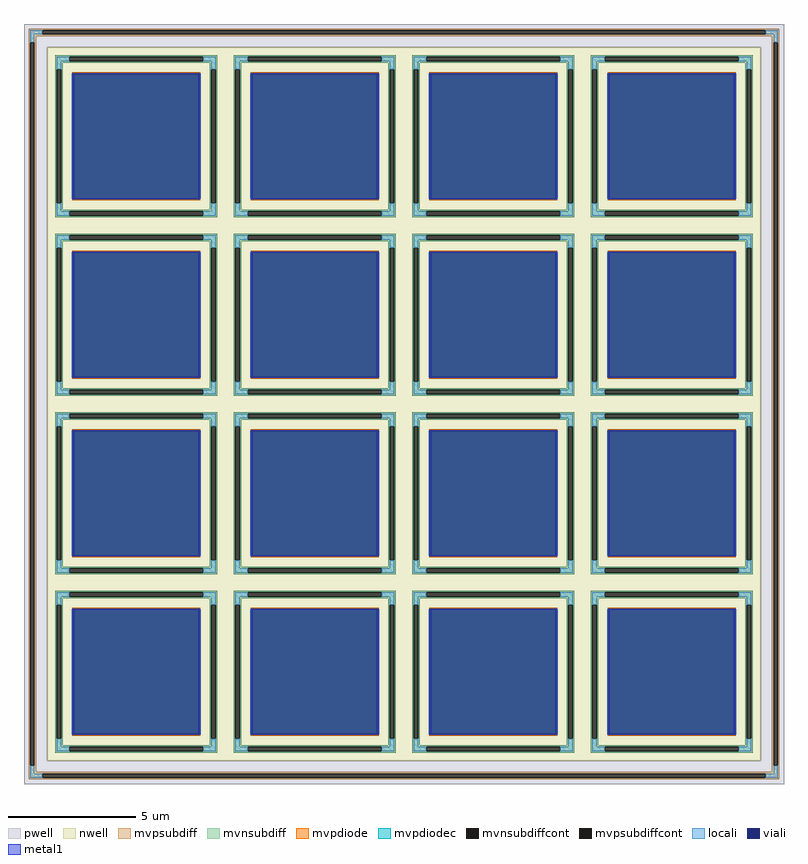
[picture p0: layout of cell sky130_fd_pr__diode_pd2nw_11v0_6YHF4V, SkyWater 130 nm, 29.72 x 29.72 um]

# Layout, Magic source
magic
tech sky130A
<< nwell >>
rect -1396 -1396 1396 1396
<< pwell >>
rect -1486 1396 1486 1486
rect -1486 -1396 -1396 1396
rect 1396 -1396 1486 1396
rect -1486 -1486 1486 -1396
<< mvpsubdiff >>
rect -1468 1462 1468 1468
rect -1468 1445 -1414 1462
rect 1414 1445 1468 1462
rect -1468 1439 1468 1445
rect -1468 1414 -1439 1439
rect -1468 -1414 -1462 1414
rect -1445 -1414 -1439 1414
rect 1439 1414 1468 1439
rect -1468 -1439 -1439 -1414
rect 1439 -1414 1445 1414
rect 1462 -1414 1468 1414
rect 1439 -1439 1468 -1414
rect -1468 -1445 1468 -1439
rect -1468 -1462 -1414 -1445
rect 1414 -1462 1468 -1445
rect -1468 -1468 1468 -1462
<< mvnsubdiff >>
rect -1363 1357 -731 1363
rect -1363 1340 -1309 1357
rect -785 1340 -731 1357
rect -1363 1334 -731 1340
rect -1363 1309 -1334 1334
rect -1363 785 -1357 1309
rect -1340 785 -1334 1309
rect -760 1309 -731 1334
rect -1363 760 -1334 785
rect -760 785 -754 1309
rect -737 785 -731 1309
rect -760 760 -731 785
rect -1363 754 -731 760
rect -1363 737 -1309 754
rect -785 737 -731 754
rect -1363 731 -731 737
rect -665 1357 -33 1363
rect -665 1340 -611 1357
rect -87 1340 -33 1357
rect -665 1334 -33 1340
rect -665 1309 -636 1334
rect -665 785 -659 1309
rect -642 785 -636 1309
rect -62 1309 -33 1334
rect -665 760 -636 785
rect -62 785 -56 1309
rect -39 785 -33 1309
rect -62 760 -33 785
rect -665 754 -33 760
rect -665 737 -611 754
rect -87 737 -33 754
rect -665 731 -33 737
rect 33 1357 665 1363
rect 33 1340 87 1357
rect 611 1340 665 1357
rect 33 1334 665 1340
rect 33 1309 62 1334
rect 33 785 39 1309
rect 56 785 62 1309
rect 636 1309 665 1334
rect 33 760 62 785
rect 636 785 642 1309
rect 659 785 665 1309
rect 636 760 665 785
rect 33 754 665 760
rect 33 737 87 754
rect 611 737 665 754
rect 33 731 665 737
rect 731 1357 1363 1363
rect 731 1340 785 1357
rect 1309 1340 1363 1357
rect 731 1334 1363 1340
rect 731 1309 760 1334
rect 731 785 737 1309
rect 754 785 760 1309
rect 1334 1309 1363 1334
rect 731 760 760 785
rect 1334 785 1340 1309
rect 1357 785 1363 1309
rect 1334 760 1363 785
rect 731 754 1363 760
rect 731 737 785 754
rect 1309 737 1363 754
rect 731 731 1363 737
rect -1363 659 -731 665
rect -1363 642 -1309 659
rect -785 642 -731 659
rect -1363 636 -731 642
rect -1363 611 -1334 636
rect -1363 87 -1357 611
rect -1340 87 -1334 611
rect -760 611 -731 636
rect -1363 62 -1334 87
rect -760 87 -754 611
rect -737 87 -731 611
rect -760 62 -731 87
rect -1363 56 -731 62
rect -1363 39 -1309 56
rect -785 39 -731 56
rect -1363 33 -731 39
rect -665 659 -33 665
rect -665 642 -611 659
rect -87 642 -33 659
rect -665 636 -33 642
rect -665 611 -636 636
rect -665 87 -659 611
rect -642 87 -636 611
rect -62 611 -33 636
rect -665 62 -636 87
rect -62 87 -56 611
rect -39 87 -33 611
rect -62 62 -33 87
rect -665 56 -33 62
rect -665 39 -611 56
rect -87 39 -33 56
rect -665 33 -33 39
rect 33 659 665 665
rect 33 642 87 659
rect 611 642 665 659
rect 33 636 665 642
rect 33 611 62 636
rect 33 87 39 611
rect 56 87 62 611
rect 636 611 665 636
rect 33 62 62 87
rect 636 87 642 611
rect 659 87 665 611
rect 636 62 665 87
rect 33 56 665 62
rect 33 39 87 56
rect 611 39 665 56
rect 33 33 665 39
rect 731 659 1363 665
rect 731 642 785 659
rect 1309 642 1363 659
rect 731 636 1363 642
rect 731 611 760 636
rect 731 87 737 611
rect 754 87 760 611
rect 1334 611 1363 636
rect 731 62 760 87
rect 1334 87 1340 611
rect 1357 87 1363 611
rect 1334 62 1363 87
rect 731 56 1363 62
rect 731 39 785 56
rect 1309 39 1363 56
rect 731 33 1363 39
rect -1363 -39 -731 -33
rect -1363 -56 -1309 -39
rect -785 -56 -731 -39
rect -1363 -62 -731 -56
rect -1363 -87 -1334 -62
rect -1363 -611 -1357 -87
rect -1340 -611 -1334 -87
rect -760 -87 -731 -62
rect -1363 -636 -1334 -611
rect -760 -611 -754 -87
rect -737 -611 -731 -87
rect -760 -636 -731 -611
rect -1363 -642 -731 -636
rect -1363 -659 -1309 -642
rect -785 -659 -731 -642
rect -1363 -665 -731 -659
rect -665 -39 -33 -33
rect -665 -56 -611 -39
rect -87 -56 -33 -39
rect -665 -62 -33 -56
rect -665 -87 -636 -62
rect -665 -611 -659 -87
rect -642 -611 -636 -87
rect -62 -87 -33 -62
rect -665 -636 -636 -611
rect -62 -611 -56 -87
rect -39 -611 -33 -87
rect -62 -636 -33 -611
rect -665 -642 -33 -636
rect -665 -659 -611 -642
rect -87 -659 -33 -642
rect -665 -665 -33 -659
rect 33 -39 665 -33
rect 33 -56 87 -39
rect 611 -56 665 -39
rect 33 -62 665 -56
rect 33 -87 62 -62
rect 33 -611 39 -87
rect 56 -611 62 -87
rect 636 -87 665 -62
rect 33 -636 62 -611
rect 636 -611 642 -87
rect 659 -611 665 -87
rect 636 -636 665 -611
rect 33 -642 665 -636
rect 33 -659 87 -642
rect 611 -659 665 -642
rect 33 -665 665 -659
rect 731 -39 1363 -33
rect 731 -56 785 -39
rect 1309 -56 1363 -39
rect 731 -62 1363 -56
rect 731 -87 760 -62
rect 731 -611 737 -87
rect 754 -611 760 -87
rect 1334 -87 1363 -62
rect 731 -636 760 -611
rect 1334 -611 1340 -87
rect 1357 -611 1363 -87
rect 1334 -636 1363 -611
rect 731 -642 1363 -636
rect 731 -659 785 -642
rect 1309 -659 1363 -642
rect 731 -665 1363 -659
rect -1363 -737 -731 -731
rect -1363 -754 -1309 -737
rect -785 -754 -731 -737
rect -1363 -760 -731 -754
rect -1363 -785 -1334 -760
rect -1363 -1309 -1357 -785
rect -1340 -1309 -1334 -785
rect -760 -785 -731 -760
rect -1363 -1334 -1334 -1309
rect -760 -1309 -754 -785
rect -737 -1309 -731 -785
rect -760 -1334 -731 -1309
rect -1363 -1340 -731 -1334
rect -1363 -1357 -1309 -1340
rect -785 -1357 -731 -1340
rect -1363 -1363 -731 -1357
rect -665 -737 -33 -731
rect -665 -754 -611 -737
rect -87 -754 -33 -737
rect -665 -760 -33 -754
rect -665 -785 -636 -760
rect -665 -1309 -659 -785
rect -642 -1309 -636 -785
rect -62 -785 -33 -760
rect -665 -1334 -636 -1309
rect -62 -1309 -56 -785
rect -39 -1309 -33 -785
rect -62 -1334 -33 -1309
rect -665 -1340 -33 -1334
rect -665 -1357 -611 -1340
rect -87 -1357 -33 -1340
rect -665 -1363 -33 -1357
rect 33 -737 665 -731
rect 33 -754 87 -737
rect 611 -754 665 -737
rect 33 -760 665 -754
rect 33 -785 62 -760
rect 33 -1309 39 -785
rect 56 -1309 62 -785
rect 636 -785 665 -760
rect 33 -1334 62 -1309
rect 636 -1309 642 -785
rect 659 -1309 665 -785
rect 636 -1334 665 -1309
rect 33 -1340 665 -1334
rect 33 -1357 87 -1340
rect 611 -1357 665 -1340
rect 33 -1363 665 -1357
rect 731 -737 1363 -731
rect 731 -754 785 -737
rect 1309 -754 1363 -737
rect 731 -760 1363 -754
rect 731 -785 760 -760
rect 731 -1309 737 -785
rect 754 -1309 760 -785
rect 1334 -785 1363 -760
rect 731 -1334 760 -1309
rect 1334 -1309 1340 -785
rect 1357 -1309 1363 -785
rect 1334 -1334 1363 -1309
rect 731 -1340 1363 -1334
rect 731 -1357 785 -1340
rect 1309 -1357 1363 -1340
rect 731 -1363 1363 -1357
<< mvpsubdiffcont >>
rect -1414 1445 1414 1462
rect -1462 -1414 -1445 1414
rect 1445 -1414 1462 1414
rect -1414 -1462 1414 -1445
<< mvnsubdiffcont >>
rect -1309 1340 -785 1357
rect -1357 785 -1340 1309
rect -754 785 -737 1309
rect -1309 737 -785 754
rect -611 1340 -87 1357
rect -659 785 -642 1309
rect -56 785 -39 1309
rect -611 737 -87 754
rect 87 1340 611 1357
rect 39 785 56 1309
rect 642 785 659 1309
rect 87 737 611 754
rect 785 1340 1309 1357
rect 737 785 754 1309
rect 1340 785 1357 1309
rect 785 737 1309 754
rect -1309 642 -785 659
rect -1357 87 -1340 611
rect -754 87 -737 611
rect -1309 39 -785 56
rect -611 642 -87 659
rect -659 87 -642 611
rect -56 87 -39 611
rect -611 39 -87 56
rect 87 642 611 659
rect 39 87 56 611
rect 642 87 659 611
rect 87 39 611 56
rect 785 642 1309 659
rect 737 87 754 611
rect 1340 87 1357 611
rect 785 39 1309 56
rect -1309 -56 -785 -39
rect -1357 -611 -1340 -87
rect -754 -611 -737 -87
rect -1309 -659 -785 -642
rect -611 -56 -87 -39
rect -659 -611 -642 -87
rect -56 -611 -39 -87
rect -611 -659 -87 -642
rect 87 -56 611 -39
rect 39 -611 56 -87
rect 642 -611 659 -87
rect 87 -659 611 -642
rect 785 -56 1309 -39
rect 737 -611 754 -87
rect 1340 -611 1357 -87
rect 785 -659 1309 -642
rect -1309 -754 -785 -737
rect -1357 -1309 -1340 -785
rect -754 -1309 -737 -785
rect -1309 -1357 -785 -1340
rect -611 -754 -87 -737
rect -659 -1309 -642 -785
rect -56 -1309 -39 -785
rect -611 -1357 -87 -1340
rect 87 -754 611 -737
rect 39 -1309 56 -785
rect 642 -1309 659 -785
rect 87 -1357 611 -1340
rect 785 -754 1309 -737
rect 737 -1309 754 -785
rect 1340 -1309 1357 -785
rect 785 -1357 1309 -1340
<< mvpdiode >>
rect -1297 1291 -797 1297
rect -1297 803 -1291 1291
rect -803 803 -797 1291
rect -1297 797 -797 803
rect -599 1291 -99 1297
rect -599 803 -593 1291
rect -105 803 -99 1291
rect -599 797 -99 803
rect 99 1291 599 1297
rect 99 803 105 1291
rect 593 803 599 1291
rect 99 797 599 803
rect 797 1291 1297 1297
rect 797 803 803 1291
rect 1291 803 1297 1291
rect 797 797 1297 803
rect -1297 593 -797 599
rect -1297 105 -1291 593
rect -803 105 -797 593
rect -1297 99 -797 105
rect -599 593 -99 599
rect -599 105 -593 593
rect -105 105 -99 593
rect -599 99 -99 105
rect 99 593 599 599
rect 99 105 105 593
rect 593 105 599 593
rect 99 99 599 105
rect 797 593 1297 599
rect 797 105 803 593
rect 1291 105 1297 593
rect 797 99 1297 105
rect -1297 -105 -797 -99
rect -1297 -593 -1291 -105
rect -803 -593 -797 -105
rect -1297 -599 -797 -593
rect -599 -105 -99 -99
rect -599 -593 -593 -105
rect -105 -593 -99 -105
rect -599 -599 -99 -593
rect 99 -105 599 -99
rect 99 -593 105 -105
rect 593 -593 599 -105
rect 99 -599 599 -593
rect 797 -105 1297 -99
rect 797 -593 803 -105
rect 1291 -593 1297 -105
rect 797 -599 1297 -593
rect -1297 -803 -797 -797
rect -1297 -1291 -1291 -803
rect -803 -1291 -797 -803
rect -1297 -1297 -797 -1291
rect -599 -803 -99 -797
rect -599 -1291 -593 -803
rect -105 -1291 -99 -803
rect -599 -1297 -99 -1291
rect 99 -803 599 -797
rect 99 -1291 105 -803
rect 593 -1291 599 -803
rect 99 -1297 599 -1291
rect 797 -803 1297 -797
rect 797 -1291 803 -803
rect 1291 -1291 1297 -803
rect 797 -1297 1297 -1291
<< mvpdiodec >>
rect -1291 803 -803 1291
rect -593 803 -105 1291
rect 105 803 593 1291
rect 803 803 1291 1291
rect -1291 105 -803 593
rect -593 105 -105 593
rect 105 105 593 593
rect 803 105 1291 593
rect -1291 -593 -803 -105
rect -593 -593 -105 -105
rect 105 -593 593 -105
rect 803 -593 1291 -105
rect -1291 -1291 -803 -803
rect -593 -1291 -105 -803
rect 105 -1291 593 -803
rect 803 -1291 1291 -803
<< locali >>
rect -1462 1445 -1414 1462
rect 1414 1445 1462 1462
rect -1462 1414 -1445 1445
rect 1445 1414 1462 1445
rect -1357 1340 -1309 1357
rect -785 1340 -737 1357
rect -1357 1309 -1340 1340
rect -754 1309 -737 1340
rect -1299 803 -1291 1291
rect -803 803 -795 1291
rect -1357 754 -1340 785
rect -754 754 -737 785
rect -1357 737 -1309 754
rect -785 737 -737 754
rect -659 1340 -611 1357
rect -87 1340 -39 1357
rect -659 1309 -642 1340
rect -56 1309 -39 1340
rect -601 803 -593 1291
rect -105 803 -97 1291
rect -659 754 -642 785
rect -56 754 -39 785
rect -659 737 -611 754
rect -87 737 -39 754
rect 39 1340 87 1357
rect 611 1340 659 1357
rect 39 1309 56 1340
rect 642 1309 659 1340
rect 97 803 105 1291
rect 593 803 601 1291
rect 39 754 56 785
rect 642 754 659 785
rect 39 737 87 754
rect 611 737 659 754
rect 737 1340 785 1357
rect 1309 1340 1357 1357
rect 737 1309 754 1340
rect 1340 1309 1357 1340
rect 795 803 803 1291
rect 1291 803 1299 1291
rect 737 754 754 785
rect 1340 754 1357 785
rect 737 737 785 754
rect 1309 737 1357 754
rect -1357 642 -1309 659
rect -785 642 -737 659
rect -1357 611 -1340 642
rect -754 611 -737 642
rect -1299 105 -1291 593
rect -803 105 -795 593
rect -1357 56 -1340 87
rect -754 56 -737 87
rect -1357 39 -1309 56
rect -785 39 -737 56
rect -659 642 -611 659
rect -87 642 -39 659
rect -659 611 -642 642
rect -56 611 -39 642
rect -601 105 -593 593
rect -105 105 -97 593
rect -659 56 -642 87
rect -56 56 -39 87
rect -659 39 -611 56
rect -87 39 -39 56
rect 39 642 87 659
rect 611 642 659 659
rect 39 611 56 642
rect 642 611 659 642
rect 97 105 105 593
rect 593 105 601 593
rect 39 56 56 87
rect 642 56 659 87
rect 39 39 87 56
rect 611 39 659 56
rect 737 642 785 659
rect 1309 642 1357 659
rect 737 611 754 642
rect 1340 611 1357 642
rect 795 105 803 593
rect 1291 105 1299 593
rect 737 56 754 87
rect 1340 56 1357 87
rect 737 39 785 56
rect 1309 39 1357 56
rect -1357 -56 -1309 -39
rect -785 -56 -737 -39
rect -1357 -87 -1340 -56
rect -754 -87 -737 -56
rect -1299 -593 -1291 -105
rect -803 -593 -795 -105
rect -1357 -642 -1340 -611
rect -754 -642 -737 -611
rect -1357 -659 -1309 -642
rect -785 -659 -737 -642
rect -659 -56 -611 -39
rect -87 -56 -39 -39
rect -659 -87 -642 -56
rect -56 -87 -39 -56
rect -601 -593 -593 -105
rect -105 -593 -97 -105
rect -659 -642 -642 -611
rect -56 -642 -39 -611
rect -659 -659 -611 -642
rect -87 -659 -39 -642
rect 39 -56 87 -39
rect 611 -56 659 -39
rect 39 -87 56 -56
rect 642 -87 659 -56
rect 97 -593 105 -105
rect 593 -593 601 -105
rect 39 -642 56 -611
rect 642 -642 659 -611
rect 39 -659 87 -642
rect 611 -659 659 -642
rect 737 -56 785 -39
rect 1309 -56 1357 -39
rect 737 -87 754 -56
rect 1340 -87 1357 -56
rect 795 -593 803 -105
rect 1291 -593 1299 -105
rect 737 -642 754 -611
rect 1340 -642 1357 -611
rect 737 -659 785 -642
rect 1309 -659 1357 -642
rect -1357 -754 -1309 -737
rect -785 -754 -737 -737
rect -1357 -785 -1340 -754
rect -754 -785 -737 -754
rect -1299 -1291 -1291 -803
rect -803 -1291 -795 -803
rect -1357 -1340 -1340 -1309
rect -754 -1340 -737 -1309
rect -1357 -1357 -1309 -1340
rect -785 -1357 -737 -1340
rect -659 -754 -611 -737
rect -87 -754 -39 -737
rect -659 -785 -642 -754
rect -56 -785 -39 -754
rect -601 -1291 -593 -803
rect -105 -1291 -97 -803
rect -659 -1340 -642 -1309
rect -56 -1340 -39 -1309
rect -659 -1357 -611 -1340
rect -87 -1357 -39 -1340
rect 39 -754 87 -737
rect 611 -754 659 -737
rect 39 -785 56 -754
rect 642 -785 659 -754
rect 97 -1291 105 -803
rect 593 -1291 601 -803
rect 39 -1340 56 -1309
rect 642 -1340 659 -1309
rect 39 -1357 87 -1340
rect 611 -1357 659 -1340
rect 737 -754 785 -737
rect 1309 -754 1357 -737
rect 737 -785 754 -754
rect 1340 -785 1357 -754
rect 795 -1291 803 -803
rect 1291 -1291 1299 -803
rect 737 -1340 754 -1309
rect 1340 -1340 1357 -1309
rect 737 -1357 785 -1340
rect 1309 -1357 1357 -1340
rect -1462 -1445 -1445 -1414
rect 1445 -1445 1462 -1414
rect -1462 -1462 -1414 -1445
rect 1414 -1462 1462 -1445
<< viali >>
rect -1291 803 -803 1291
rect -593 803 -105 1291
rect 105 803 593 1291
rect 803 803 1291 1291
rect -1291 105 -803 593
rect -593 105 -105 593
rect 105 105 593 593
rect 803 105 1291 593
rect -1291 -593 -803 -105
rect -593 -593 -105 -105
rect 105 -593 593 -105
rect 803 -593 1291 -105
rect -1291 -1291 -803 -803
rect -593 -1291 -105 -803
rect 105 -1291 593 -803
rect 803 -1291 1291 -803
<< metal1 >>
rect -1297 1291 -797 1294
rect -1297 803 -1291 1291
rect -803 803 -797 1291
rect -1297 800 -797 803
rect -599 1291 -99 1294
rect -599 803 -593 1291
rect -105 803 -99 1291
rect -599 800 -99 803
rect 99 1291 599 1294
rect 99 803 105 1291
rect 593 803 599 1291
rect 99 800 599 803
rect 797 1291 1297 1294
rect 797 803 803 1291
rect 1291 803 1297 1291
rect 797 800 1297 803
rect -1297 593 -797 596
rect -1297 105 -1291 593
rect -803 105 -797 593
rect -1297 102 -797 105
rect -599 593 -99 596
rect -599 105 -593 593
rect -105 105 -99 593
rect -599 102 -99 105
rect 99 593 599 596
rect 99 105 105 593
rect 593 105 599 593
rect 99 102 599 105
rect 797 593 1297 596
rect 797 105 803 593
rect 1291 105 1297 593
rect 797 102 1297 105
rect -1297 -105 -797 -102
rect -1297 -593 -1291 -105
rect -803 -593 -797 -105
rect -1297 -596 -797 -593
rect -599 -105 -99 -102
rect -599 -593 -593 -105
rect -105 -593 -99 -105
rect -599 -596 -99 -593
rect 99 -105 599 -102
rect 99 -593 105 -105
rect 593 -593 599 -105
rect 99 -596 599 -593
rect 797 -105 1297 -102
rect 797 -593 803 -105
rect 1291 -593 1297 -105
rect 797 -596 1297 -593
rect -1297 -803 -797 -800
rect -1297 -1291 -1291 -803
rect -803 -1291 -797 -803
rect -1297 -1294 -797 -1291
rect -599 -803 -99 -800
rect -599 -1291 -593 -803
rect -105 -1291 -99 -803
rect -599 -1294 -99 -1291
rect 99 -803 599 -800
rect 99 -1291 105 -803
rect 593 -1291 599 -803
rect 99 -1294 599 -1291
rect 797 -803 1297 -800
rect 797 -1291 803 -803
rect 1291 -1291 1297 -803
rect 797 -1294 1297 -1291
<< properties >>
string FIXED_BBOX 745 745 1348 1348
string gencell sky130_fd_pr__diode_pd2nw_11v0
string library sky130
string parameters w 5 l 5 area 25.0 peri 20.0 nx 4 ny 4 dummy 0 lmin 0.45 wmin 0.45 elc 1 erc 1 etc 1 ebc 1 glc 1 grc 1 gtc 1 gbc 1 doverlap 0 compatible {sky130_fd_pr__diode_pd2nw_05v5 sky130_fd_pr__diode_pd2nw_05v5_lvt  sky130_fd_pr__diode_pd2nw_05v5_hvt sky130_fd_pr__diode_pd2nw_11v0} full_metal 1 vias 1 viagb 0 viagt 0 viagl 0 viagr 0
<< end >>
